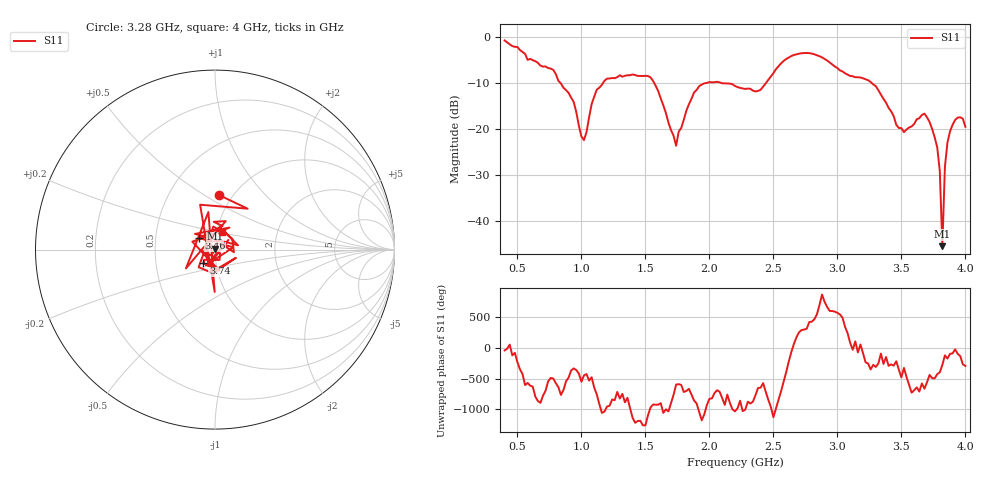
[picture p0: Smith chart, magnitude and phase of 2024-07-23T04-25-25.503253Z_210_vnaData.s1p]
!Created with skrf (http://scikit-rf.org).
# Hz S RI R 50.0
!freq ReS11 ImS11
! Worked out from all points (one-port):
!   181 points, 400 MHz to 4 GHz, reference 50 ohm
!   lowest |S11| = -45.5 dB at 3.82 GHz (marker M1), VSWR 1.01, Z = 50 + j0.531 ohm
!   |S11| at or under -10 dB: 1.568 GHz to 1.981 GHz (412.4 MHz wide, 23.2 % of centre); 2.092 GHz to 2.443 GHz (350.3 MHz wide, 15.5 % of centre); 3.267 GHz to end of sweep (the widest 3 of 4)
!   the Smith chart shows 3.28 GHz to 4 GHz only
!   S11 on the Smith chart (normalised r, x): 3.28 GHz: 0.86, +0.58; 3.46 GHz: 0.83, +0.11; 3.74 GHz: 0.87, -0.13; 4 GHz: 1.06, +0.21
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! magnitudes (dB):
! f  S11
! 400 MHz  -0.8
! 780 MHz  -7.2
! 860 MHz  -11.1
! 940 MHz  -14.2
! 1.02 GHz  -22.4
! 1.12 GHz  -11.5
! 1.3 GHz  -8.3
! 1.54 GHz  -8.8
! 1.74 GHz  -23.7
! 1.76 GHz  -20.6
! 1.92 GHz  -10.7
! 2.2 GHz  -10.7
! 2.4 GHz  -11.5
! 2.66 GHz  -3.9
! 2.82 GHz  -3.8
! 3.1 GHz  -8.5
! 3.28 GHz  -10.3
! 3.46 GHz  -19.1
! 3.56 GHz  -19.7
! 3.68 GHz  -16.7
! 3.74 GHz  -20.0
! 3.78 GHz  -24.0
! 3.8 GHz  -29.2
! 3.82 GHz  -45.5
! 3.84 GHz  -28.2
! 3.86 GHz  -22.9
! 3.94 GHz  -17.5
! 4 GHz  -19.5
